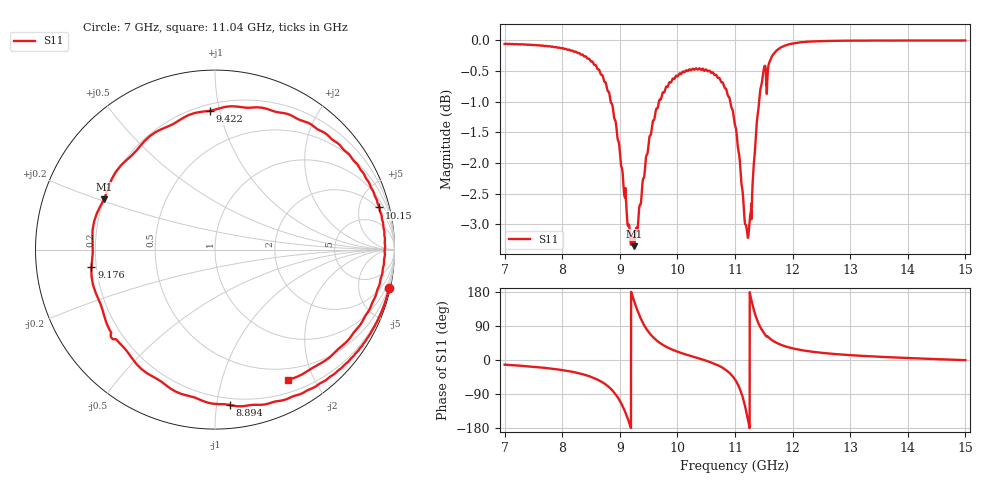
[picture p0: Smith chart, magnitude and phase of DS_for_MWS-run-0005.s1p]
! TOUCHSTONE file generated by CST DESIGN STUDIO
! Date and time: Mon Feb 10 16:50:49 2025
! Project name: C:\Work\MatlabApps\UnitCellType2OptimizationMatlab\CST\unitcell.cst
! Tree item: Tasks\Sweep1\SPara1\S-Parameters
! Header version: 2024
! Port assignment regex: !\s*Touchstone port\s*([0-9]+)\s*=\s*(CST MWS port|CST DES external port|CST DES block port)\s*(.+)\s* \(\"(.*)\"\)(\s*mode\s*([0-9]+))?.*
! Touchstone port assignment:
! Touchstone port 1 = CST DES external port 1 ("")
# GHz S MA R 50
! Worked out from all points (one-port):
!   4001 points, 7 GHz to 15 GHz, reference 50 ohm
!   lowest |S11| = -3.4 dB at 9.248 GHz (marker M1), VSWR 5.24, Z = 9.98 + j10.4 ohm
!   |S11| at or under -10 dB: nowhere
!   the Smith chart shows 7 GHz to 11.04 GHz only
!   S11 on the Smith chart (normalised r, x): 7 GHz: 0.29, -9.27; 8.894 GHz: 0.15, -1.09; 9.176 GHz: 0.18, -0.07; 9.422 GHz: 0.24, +0.94; 10.15 GHz: 1.71, +7.54; 11.04 GHz: 0.35, -1.65
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7  0.9934 -12.3
8  0.9858 -26.6
8.554  0.9555 -47.7
8.894  0.8697 -84.5
9  0.8119 -108.0
9.078  0.7475 -131.7
9.176  0.6951 -172.0
9.248  0.6793 155.7
9.328  0.7212 123.0
9.422  0.7737 92.0
9.664  0.8833 48.8
10  0.9348 22.0
10.15  0.9454 14.4
10.716  0.9319 -14.8
10.878  0.9013 -30.5
11  0.8527 -51.2
11.036  0.8316 -60.7
11.158  0.7227 -112.1
11.222  0.6905 -155.9
11.27  0.7228 167.8
11.352  0.8204 119.3
11.442  0.9129 85.8
11.518  0.9534 67.8
11.656  0.9731 51.0
12  0.9943 30.8
13  0.9996 12.8
14  0.9999 5.2
15  0.9999 -0.4
